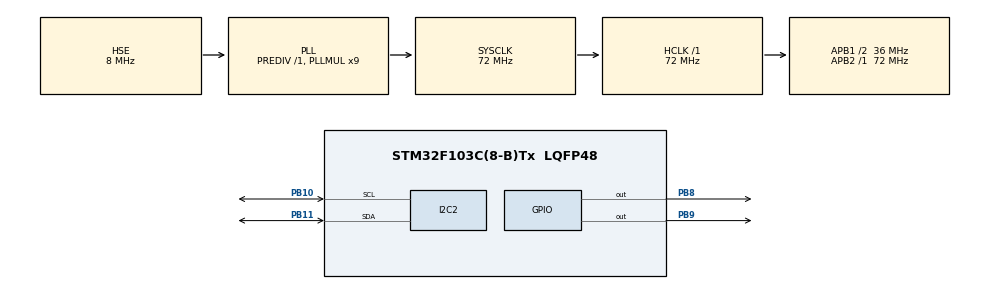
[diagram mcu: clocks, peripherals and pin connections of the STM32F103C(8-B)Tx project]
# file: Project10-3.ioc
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Mcu.Family=STM32F1
Mcu.Name=STM32F103C(8-B)Tx
Mcu.Package=LQFP48
NVIC.PriorityGroup=NVIC_PRIORITYGROUP_4
PA13.Mode=Serial_Wire
PA13.Signal=SYS_JTMS-SWDIO
PA14.Mode=Serial_Wire
PA14.Signal=SYS_JTCK-SWCLK
PB10.Mode=I2C
PB10.Signal=I2C2_SCL
PB11.Mode=I2C
PB11.Signal=I2C2_SDA
PB8.GPIO_ModeDefaultOutputPP=GPIO_MODE_OUTPUT_OD
PB8.GPIO_PuPd=GPIO_NOPULL
PB8.Signal=GPIO_Output
PB9.GPIO_ModeDefaultOutputPP=GPIO_MODE_OUTPUT_OD
PB9.GPIO_PuPd=GPIO_NOPULL
PB9.Signal=GPIO_Output
PC14-OSC32_IN.Mode=LSE-External-Oscillator
PC14-OSC32_IN.Signal=RCC_OSC32_IN
PC15-OSC32_OUT.Mode=LSE-External-Oscillator
PC15-OSC32_OUT.Signal=RCC_OSC32_OUT
PD0-OSC_IN.Mode=HSE-External-Oscillator
PD0-OSC_IN.Signal=RCC_OSC_IN
PD1-OSC_OUT.Mode=HSE-External-Oscillator
PD1-OSC_OUT.Signal=RCC_OSC_OUT
ProjectManager.HeapSize=0x200
ProjectManager.StackSize=0x400
ProjectManager.TargetToolchain=MDK-ARM V5.32
RCC.AHBFreq_Value=72000000
RCC.APB1CLKDivider=RCC_HCLK_DIV2
RCC.APB1Freq_Value=36000000
RCC.APB1TimFreq_Value=72000000
RCC.APB2Freq_Value=72000000
RCC.APB2TimFreq_Value=72000000
RCC.HCLKFreq_Value=72000000
RCC.PLLMUL=RCC_PLL_MUL9
RCC.PLLSourceVirtual=RCC_PLLSOURCE_HSE
RCC.SYSCLKFreq_VALUE=72000000
RCC.SYSCLKSource=RCC_SYSCLKSOURCE_PLLCLK
RCC.USBFreq_Value=72000000
board=custom

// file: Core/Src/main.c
/* USER CODE BEGIN Header */
/**
  ******************************************************************************
  * @file           : main.c
  * @brief          : Main program body
  ******************************************************************************
  * @attention
  *
  * Copyright (c) 2025 STMicroelectronics.
  * All rights reserved.
  *
  * This software is licensed under terms that can be found in the LICENSE file
  * in the root directory of this software component.
  * If no LICENSE file comes with this software, it is provided AS-IS.
  *
  ******************************************************************************
  */
/* USER CODE END Header */
#include "main.h"
#include "i2c.h"
#include "gpio.h"

/* USER CODE BEGIN Includes */
#include "OLED.h"
#include "QMC5883.h"
#include "math.h"
/* USER CODE END Includes */

/* USER CODE BEGIN PV */
int cnt;
float angle;
//int16_t offsetX, offsetY, offsetZ;        //矫正补偿
uint8_t ge=0,shi=0,bai=0,qian=0,wan=0;          //显示变量
uint32_t  a;
double Angle_XY;
double Angle_XZ;
double Angle_YZ;
uint8_t BUF[8];
double x,y,z,h;
/* USER CODE END PV */

void SystemClock_Config(void);

/* USER CODE BEGIN 0 */
void Conversion(uint16_t temp_data)
{
    wan=temp_data/10000+0x30 ;
    temp_data=temp_data%10000;   //取余运算
	qian=temp_data/1000+0x30 ;
    temp_data=temp_data%1000;
    bai=temp_data/100+0x30   ;
    temp_data=temp_data%100;
    shi=temp_data/10+0x30    ;
    temp_data=temp_data%10;
    ge=temp_data+0x30;
}
/* USER CODE END 0 */

int main(void)
{

  /* MCU Configuration--------------------------------------------------------*/

  /* Reset of all peripherals, Initializes the Flash interface and the Systick. */
  HAL_Init();

  /* Configure the system clock */
  SystemClock_Config();

  /* Initialize all configured peripherals */
  MX_GPIO_Init();
  MX_I2C2_Init();
  /* USER CODE BEGIN 2 */
  // 先在cubemx中配置OLED相关引脚，并将打开IIC2
  // 按照之前例程中的步骤配置相关文件并且将新加入的几个文件按要求写入（QMC5883和I2C）
  int16_t X=0,Y=0,Z=0;
  Angle_XY=0;
  Angle_XZ=0;
  Angle_YZ=0;
  // 模块初始化
  OLED_Init();// OLED初始化
  qmc_init();// QMC5883初始化
  OLED_Clear();// OLED清屏
  /* USER CODE END 2 */

  /* Infinite loop */
  /* USER CODE BEGIN WHILE */
  while (1)
  {
     QMC_GetData(&X,&Y, &Z);
	 if(X>0x7fff)X-=0xffff;
	 if(Y>0x7fff)Y-=0xffff;
	 if(Z>0x7fff)Z-=0xffff;
	 Angle_XY= atan2((double)Y,(double)X) * (180 / 3.14159265) + 180; //计算XY平面角度
	 Angle_XY*=10;
	 OLED_ShowNum (2,1,X,5);
	 OLED_ShowNum (3,1,Y,5);
	 OLED_ShowNum (4,1,Z,5);
	 Conversion(Angle_XY);       //计算XY平面角度数据和显示
	 OLED_ShowHexNum (1,1,qian,1);
	 OLED_ShowHexNum (1,2,bai,1);
	 OLED_ShowHexNum (1,3,shi,1);
	 OLED_ShowHexNum (1,5,ge,1);
	 OLED_ShowString (1,4,".");
    /* USER CODE END WHILE */

  }
}

void SystemClock_Config(void)
{
  RCC_OscInitTypeDef RCC_OscInitStruct = {0};
  RCC_ClkInitTypeDef RCC_ClkInitStruct = {0};

  /** Initializes the RCC Oscillators according to the specified parameters
  * in the RCC_OscInitTypeDef structure.
  */
  RCC_OscInitStruct.OscillatorType = RCC_OSCILLATORTYPE_HSE;
  RCC_OscInitStruct.HSEState = RCC_HSE_ON;
  RCC_OscInitStruct.HSEPredivValue = RCC_HSE_PREDIV_DIV1;
  RCC_OscInitStruct.HSIState = RCC_HSI_ON;
  RCC_OscInitStruct.PLL.PLLState = RCC_PLL_ON;
  RCC_OscInitStruct.PLL.PLLSource = RCC_PLLSOURCE_HSE;
  RCC_OscInitStruct.PLL.PLLMUL = RCC_PLL_MUL9;
  if (HAL_RCC_OscConfig(&RCC_OscInitStruct) != HAL_OK)
  {
    Error_Handler();
  }

  /** Initializes the CPU, AHB and APB buses clocks
  */
  RCC_ClkInitStruct.ClockType = RCC_CLOCKTYPE_HCLK|RCC_CLOCKTYPE_SYSCLK
                              |RCC_CLOCKTYPE_PCLK1|RCC_CLOCKTYPE_PCLK2;
  RCC_ClkInitStruct.SYSCLKSource = RCC_SYSCLKSOURCE_PLLCLK;
  RCC_ClkInitStruct.AHBCLKDivider = RCC_SYSCLK_DIV1;
  RCC_ClkInitStruct.APB1CLKDivider = RCC_HCLK_DIV2;
  RCC_ClkInitStruct.APB2CLKDivider = RCC_HCLK_DIV1;

  if (HAL_RCC_ClockConfig(&RCC_ClkInitStruct, FLASH_LATENCY_2) != HAL_OK)
  {
    Error_Handler();
  }
}

void Error_Handler(void)
{
  __disable_irq();
  while (1)
  {
  }
}
